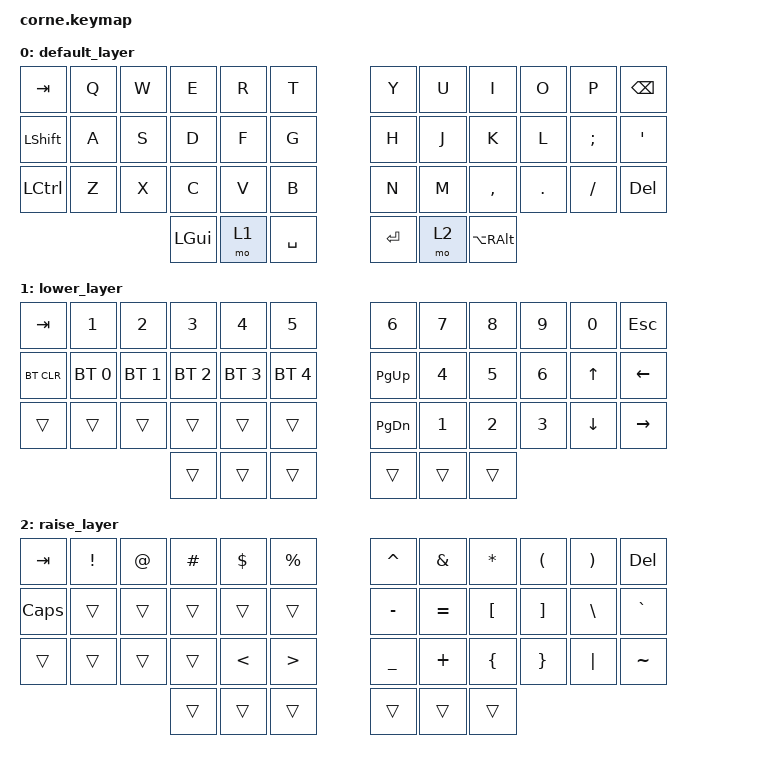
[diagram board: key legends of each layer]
/*
 * Copyright (c) 2020 The ZMK Contributors
 *
 * SPDX-License-Identifier: MIT
 */

#include <behaviors.dtsi>
#include <dt-bindings/zmk/bt.h>
#include <dt-bindings/zmk/keys.h>

/ {
    keymap {
        compatible = "zmk,keymap";

        default_layer {
            // -----------------------------------------------------------------------------------------
            // |  TAB |  Q  |  W  |  E  |  R  |  T  |   |  Y  |  U   |  I  |  O  |  P  | BKSP |
            // | CTRL |  A  |  S  |  D  |  F  |  G  |   |  H  |  J   |  K  |  L  |  ;  |  '   |
            // | SHFT |  Z  |  X  |  C  |  V  |  B  |   |  N  |  M   |  ,  |  .  |  /  | ESC  |
            //                    | GUI | LWR | SPC |   | ENT | RSE  | ALT |

            bindings = <
&kp TAB         &kp Q  &kp W  &kp E     &kp R  &kp T        &kp Y      &kp U  &kp I         &kp O    &kp P     &kp BSPC
&kp LEFT_SHIFT  &kp A  &kp S  &kp D     &kp F  &kp G        &kp H      &kp J  &kp K         &kp L    &kp SEMI  &kp SQT
&kp LCTRL       &kp Z  &kp X  &kp C     &kp V  &kp B        &kp N      &kp M  &kp COMMA     &kp DOT  &kp FSLH  &kp DEL
                              &kp LGUI  &mo 1  &kp SPACE    &kp ENTER  &mo 2  &kp LA(RALT)
            >;
        };

        lower_layer {
            // -----------------------------------------------------------------------------------------
            // |  TAB |  1  |  2  |  3  |  4  |  5  |   |  6  |  7  |  8  |  9  |  0  | BKSP |
            // | BTCLR| BT1 | BT2 | BT3 | BT4 | BT5 |   | LFT | DWN |  UP | RGT |     |      |
            // | SHFT |     |     |     |     |     |   |     |     |     |     |     |      |
            //                    | GUI |     | SPC |   | ENT |     | ALT |

            bindings = <
&kp TAB     &kp N1        &kp N2        &kp N3        &kp N4        &kp N5          &kp N6         &kp N7        &kp N8        &kp N9        &kp N0    &kp ESC
&bt BT_CLR  &bt BT_SEL 0  &bt BT_SEL 1  &bt BT_SEL 2  &bt BT_SEL 3  &bt BT_SEL 4    &kp PAGE_UP    &kp NUMBER_4  &kp NUMBER_5  &kp NUMBER_6  &kp UP    &kp LEFT_ARROW
&trans      &trans        &trans        &trans        &trans        &trans          &kp PAGE_DOWN  &kp NUMBER_1  &kp NUMBER_2  &kp NUMBER_3  &kp DOWN  &kp RIGHT
                                        &trans        &trans        &trans          &trans         &trans        &trans
            >;
        };

        raise_layer {
            // -----------------------------------------------------------------------------------------
            // |  TAB |  !  |  @  |  #  |  $  |  %  |   |  ^  |  &  |  *  |  (  |  )  | BKSP |
            // | CTRL |     |     |     |     |     |   |  -  |  =  |  [  |  ]  |  \  |  `   |
            // | SHFT |     |     |     |     |     |   |  _  |  +  |  {  |  }  | "|" |  ~   |
            //                    | GUI |     | SPC |   | ENT |     | ALT |

            bindings = <
&kp TAB       &kp EXCL  &kp AT  &kp HASH  &kp DLLR       &kp PRCNT           &kp CARET  &kp AMPS   &kp ASTRK  &kp LPAR  &kp RPAR  &kp DELETE
&kp CAPSLOCK  &trans    &trans  &trans    &trans         &trans              &kp MINUS  &kp EQUAL  &kp LBKT   &kp RBKT  &kp BSLH  &kp GRAVE
&trans        &trans    &trans  &trans    &kp LESS_THAN  &kp GREATER_THAN    &kp UNDER  &kp PLUS   &kp LBRC   &kp RBRC  &kp PIPE  &kp TILDE
                                &trans    &trans         &trans              &trans     &trans     &trans
            >;
        };
    };
};
